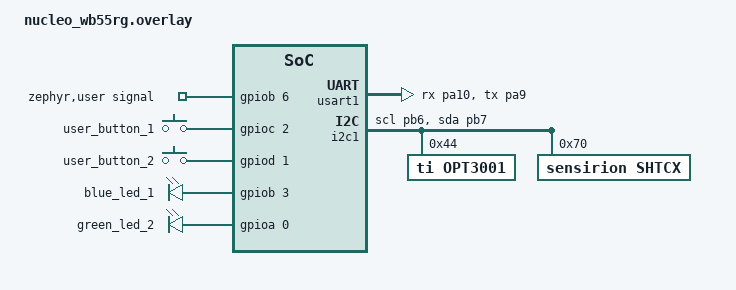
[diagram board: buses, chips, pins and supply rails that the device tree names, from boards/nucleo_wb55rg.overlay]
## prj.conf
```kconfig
#
# Copyright (c) 2023 Nordic Semiconductor ASA
#
# SPDX-License-Identifier: Apache-2.0
#
CONFIG_BT=y
CONFIG_BT_PERIPHERAL=y
CONFIG_BT_DEVICE_NAME="BTH iot alarm"
CONFIG_LOG=y

#CONFIG_BT_EXT_ADV=y
#CONFIG_BT_PER_ADV=y

#CONFIG_BT_HCI_ACL_FLOW_CONTROL=y
#CONFIG_BT_EXT_ADV=y
#^ breaks BLE w/ STM32wb55

CONFIG_SENSOR=y
CONFIG_I2C=y
CONFIG_GPIO=y
CONFIG_SENSOR_LOG_LEVEL_DBG=y

CONFIG_PM_DEVICE=y

CONFIG_STDOUT_CONSOLE=y
CONFIG_CBPRINTF_FP_SUPPORT=y
```

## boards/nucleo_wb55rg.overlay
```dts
&pinctrl {
    usart1_rx_pa10: usart1_rx_pa10 {
        pinmux = < STM32_PINMUX('A', 10, AF7) >;
    };

    usart1_tx_pa9: usart1_tx_pa9 {
        pinmux = < STM32_PINMUX('A', 9, AF7) >;
    };
};

// usart 1 on PA9 and PA10
&usart1 {
    pinctrl-0 = <&usart1_rx_pa10 &usart1_tx_pa9>;
};

// i2c1 for sht
&i2c1 {
    pinctrl-0 = <&i2c1_scl_pb6 &i2c1_sda_pb7>;
    status = "okay";
    pinctrl-names = "default";
    
	opt3001: opt3001@44 {
		compatible = "ti,opt3001";
		reg = <0x44>;
	};
    shtcx: shtcx@70 {
		compatible = "sensirion,shtcx";
		reg = <0x70>;
		chip = "shtc3";
		measure-mode = "normal";
	};
};

&gpioa {
	status = "okay";
};
&gpiob {
	status = "okay";
};
&gpioc {
	status = "okay";
};
&gpiod {
	status = "okay";
};

/ {
	zephyr,user {
		signal-gpios =  < &gpiob 6 GPIO_ACTIVE_HIGH >; // Test scl
	};

	aliases {
		led1 = &green_led_2;
	};
};

// door 
&user_button_1 {
	gpios = < &gpioc 2 GPIO_ACTIVE_HIGH >; // Door uSwitch
};

&user_button_2 {
	gpios = < &gpiod 1 GPIO_ACTIVE_HIGH >; // CTRL Btn
};

&blue_led_1 {
	gpios = < &gpiob 3 GPIO_ACTIVE_HIGH >; // User LED
};

&green_led_2 {
	gpios = < &gpioa 0 GPIO_ACTIVE_HIGH >; // Buzzer
};
// TODO add VCC ADC...
```

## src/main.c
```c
/*
 * Copyright (c) 2023 Nordic Semiconductor ASA
 *
 * SPDX-License-Identifier: Apache-2.0
 */

#include "zephyr/dt-bindings/gpio/gpio.h"
#include "zephyr/sys/time_units.h"
#include <zephyr/device.h>
#include <zephyr/devicetree.h>
#include <zephyr/drivers/gpio.h>
#include <zephyr/drivers/i2c.h>
#include <zephyr/drivers/sensor.h>
#include <zephyr/kernel.h>

#include <zephyr/bluetooth/bluetooth.h>
#include <zephyr/bluetooth/gap.h>
#include <zephyr/bluetooth/uuid.h>

/*
 ***************************************************************************
 * Device tree definitions
 */

// https://github.com/aaron-mohtar-co/Lemon-IoT-LTE-nRF9160/tree/main/Examples/i2c_sensor
// #define OPT3001_DEV DT_NODELABEL(opt3001)
#define SHTC_DEV DT_NODELABEL(shtcx)
#define DOOR DT_ALIAS(sw0)
#define CTRL DT_ALIAS(sw1)
#define LED0 DT_ALIAS(led0)
#define BUZZER DT_ALIAS(led1)

// DeviceTree devices
const struct gpio_dt_spec buzzer = GPIO_DT_SPEC_GET(BUZZER, gpios);
const struct gpio_dt_spec led = GPIO_DT_SPEC_GET(LED0, gpios);
const struct gpio_dt_spec door_sw = GPIO_DT_SPEC_GET(DOOR, gpios);
const struct gpio_dt_spec ctrl_btn = GPIO_DT_SPEC_GET(CTRL, gpios);
//const struct device *light = DEVICE_DT_GET(OPT3001_DEV);
const struct device *sht = DEVICE_DT_GET(SHTC_DEV);

static struct gpio_callback door_cb;
static struct gpio_callback ctrl_cb;

/*
 ***************************************************************************
 * Bluetooth BtHome setup.
 ****************************************************************************
 */
#define SERVICE_DATA_LEN 9
#define SERVICE_UUID 0xfcd2 /* BTHome service UUID */
#define IDX_TEMPL 4         /* Index of lo byte of temp in service data*/
#define IDX_TEMPH 5         /* Index of hi byte of temp in service data*/
#define IDX_HUMDL 7         /* Index of lo byte of humidity in service data*/
#define IDX_HUMDH 8         /* Index of hi byte of humidity in service data*/

static uint8_t service_data[SERVICE_DATA_LEN] = {
    BT_UUID_16_ENCODE(SERVICE_UUID),
    0x40,
    0x02, /* Temperature */
    0xc4, /* Low byte */
    0x00, /* High byte */
    0x03, /* Humidity */
    0xbf, /* 50.55%  low byte*/
    0x13, /* 50.55%  high byte*/
};

static const struct bt_data ad[] = {
    BT_DATA_BYTES(BT_DATA_FLAGS, BT_LE_AD_GENERAL | BT_LE_AD_NO_BREDR),
    BT_DATA(BT_DATA_NAME_COMPLETE, CONFIG_BT_DEVICE_NAME,
            sizeof(CONFIG_BT_DEVICE_NAME) - 1),
   BT_DATA(BT_DATA_SVC_DATA16,
            service_data, ARRAY_SIZE(service_data)),
};

/*
 #define ADV_PARAMS                                                             \
   BT_LE_ADV_PARAM(BT_LE_ADV_OPT_USE_NAME, BT_GAP_ADV_FAST_INT_MIN_2,          \
                    BT_GAP_ADV_FAST_INT_MAX_2, NULL)
*/

#define ADV_PARAMS BT_LE_ADV_PARAM(BT_LE_ADV_OPT_USE_IDENTITY, \
				  BT_GAP_ADV_SLOW_INT_MIN, \
				  BT_GAP_ADV_SLOW_INT_MAX, NULL)


/*
 ***************************************************************************
 * Door alarm setup.
 ****************************************************************************
 */

// TODO this code is disgusting, software debounce the buttons
// https://github.com/ubieda/zephyr_button_debouncing/tree/master
int ctrl_btn_state = 0;
int ctrl_btn_dt = 0;
// Beware this function assumes debounced button.
void ctrl_button_pressed(const struct device *dev, struct gpio_callback *cb,
                         uint32_t pins) {
  printk("Control button pressed at %" PRIu32 "\n", k_cycle_get_32());

  switch (ctrl_btn_state) {
  // Idle
  case 0:
    if (gpio_pin_get_dt(&ctrl_btn) == 1) {
      printk("Control button pressed at %" PRIu32 "\n", k_cycle_get_32());
      ctrl_btn_state = 1;
    }
    break;
  // Button released
  case 1:
    if (gpio_pin_get_dt(&ctrl_btn) == 0) {
      if (k_cyc_to_ms_ceil32(k_cycle_get_32()) - ctrl_btn_dt < 3000) {
        printk("Ctrl Btn released, going to quiet mode.\n");
        ctrl_btn_state = 2;
        // TODO Force buzzer off for 30s
      } else {
        printk("Ctrl Btn released, going to shutdown mode.\n");
        ctrl_btn_state = 3;
        // TODO force shutdown
      }
    }
    break;
  case 2:
  case 3:
    ctrl_btn_state = 0;
    break;
  }
  ctrl_btn_dt = k_cyc_to_ms_ceil32(k_cycle_get_32());
}

int door_switch_dt = 0;
void door_state_change(const struct device *dev, struct gpio_callback *cb,
                       uint32_t pins) {
  printk("Door state change at %" PRIu32 "\n", k_cycle_get_32());
  int door_state = gpio_pin_get_dt(&door_sw);
  if (door_state == 0) {
    door_switch_dt = k_cyc_to_ms_ceil32(k_cycle_get_32());
    gpio_pin_set_dt(&buzzer, 0);
  } else {
    int dt = k_cyc_to_ms_ceil32(k_cycle_get_32()) - door_switch_dt;
    if (dt > 1000) {
      gpio_pin_set_dt(&buzzer, 1);
    }
  }
}


/*
 ***************************************************************************
 * Bluetooth functions.
 ****************************************************************************
 */
static int bt_ready() {

  printk("Bluetooth initialized\n");

  /* Start advertising */
  int err = bt_le_adv_start(ADV_PARAMS, ad, ARRAY_SIZE(ad), NULL, 0);
  if (err) {
    printk("Advertising failed to start (err %d)\n", err);
  }

  printk("Advertising started.\n");
  return err;
}

/*
 ***************************************************************************
 * Main
 ****************************************************************************
 */
int main(void) {
  int err;

  printk("Hello !\n");

  // // ----- Init Door Switch + IRQ -----
  // err = gpio_pin_configure_dt(&door_sw, GPIO_INPUT);
  // err = gpio_pin_interrupt_configure_dt(&door_sw, GPIO_INT_EDGE_BOTH);
  // if (err != 0) {
  //   printk("Error %d: failed to configure interrupt on %s pin %d\n", err,
  //          door_sw.port->name, door_sw.pin);
  //   return err;
  // }
  // gpio_init_callback(&door_cb, door_state_change, BIT(door_sw.pin));
  // gpio_add_callback(door_sw.port, &door_cb);

  // ----- Init CTRL Button + IRQ -----
  err = gpio_pin_configure_dt(&ctrl_btn, GPIO_INPUT | GPIO_PULL_DOWN);
  err = gpio_pin_interrupt_configure_dt(&ctrl_btn, GPIO_INT_EDGE_BOTH);
  if (err != 0) {
    printk("Error %d: failed to configure interrupt on %s pin %d\n", err,
           ctrl_btn.port->name, ctrl_btn.pin);
    return err;
  }
  gpio_init_callback(&ctrl_cb, ctrl_button_pressed, BIT(ctrl_btn.pin));
  gpio_add_callback(ctrl_btn.port, &ctrl_cb);
 
  // ----- Init Buzzer -----
  gpio_pin_configure_dt(&buzzer, GPIO_OUTPUT);
  gpio_pin_set_dt(&buzzer, 1);
  k_msleep(100);
  gpio_pin_set_dt(&buzzer, 0);
  k_msleep(100);

  // ----- Init LED -----
  gpio_pin_configure_dt(&led, GPIO_OUTPUT);

  // ----- SHT init -----
  if (!device_is_ready(sht)) {
   printk("Device %s is not ready\n", sht->name);

  } else {
   printk("Found device %s. Reading sensor data\n", sht->name);
  }
 
  printk("CONFIG_BT_DEVICE_NAME: %s\n", CONFIG_BT_DEVICE_NAME);
  err = bt_enable(NULL);
  if (err) {
    printk("Bluetooth init failed (err %d)\n", err);

    for (int i=0; i<5; ++i){
      gpio_pin_set_dt(&buzzer, 1);
      k_msleep(100);
      gpio_pin_set_dt(&buzzer, 0);
      k_msleep(1000);
    }

    return 0;
  }

  printk("Bluetooth init done.\n");

  err = bt_ready();
  if (err) {
    printk("Bluetooth ready failed (err %d)\n", err);

    for (int i=0; i<10; ++i){
      gpio_pin_set_dt(&buzzer, 1);
      k_msleep(100);
      gpio_pin_set_dt(&buzzer, 0);
      k_msleep(1000);
    } 
    return 0;
  }

  printk("Bluetooth ready.\n");
  

  // ----- Main loop -----
  for (;;) {

    /* Get temp & humidity */
		struct sensor_value temp, hum;

		int err = sensor_sample_fetch(sht);
		if (err == 0) {
			err = sensor_channel_get(sht, SENSOR_CHAN_AMBIENT_TEMP,
						&temp);
		}
		if (err == 0) {
			err = sensor_channel_get(sht, SENSOR_CHAN_HUMIDITY,
						&hum);
		}
		if (err != 0) {
		  printf("SHT: failed: %d\n", err);
		}
    else {
      double ftemp = sensor_value_to_double(&temp);
      double fhumd = sensor_value_to_double(&hum);
      printf("SHT: %.2f Cel ; %0.2f %%RH\n", ftemp, fhumd);

      service_data[IDX_TEMPH] = (int)(ftemp * 100) >> 8;
      service_data[IDX_TEMPL] = (int)(ftemp * 100) & 0xff;

      service_data[IDX_HUMDH] = (int)(fhumd * 100) >> 8;
      service_data[IDX_HUMDL] = (int)(fhumd * 100) & 0xff;
    }

    err = bt_le_adv_update_data(ad, ARRAY_SIZE(ad), NULL, 0);
    if (err) {
      printk("Failed to update advertising data (err %d)\n", err);
      for (int i=0; i<20; ++i){
        gpio_pin_set_dt(&buzzer, 1);
        k_msleep(100);
        gpio_pin_set_dt(&buzzer, 0);
        k_msleep(1000);
      }
    }
    k_sleep(K_MSEC(BT_GAP_ADV_SLOW_INT_MIN));
  }
  return 0;
}
```

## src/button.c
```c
// #include <zephyr.h>
// #include <device.h>
// #include <drivers/gpio.h>
// #include <sys/printk.h>

#include "zephyr/dt-bindings/gpio/gpio.h"
#include "zephyr/sys/time_units.h"
#include <zephyr/device.h>
#include <zephyr/devicetree.h>
#include <zephyr/drivers/gpio.h>
#include <zephyr/drivers/i2c.h>
#include <zephyr/drivers/sensor.h>
#include <zephyr/kernel.h>


#include "button.h"

#define DEBOUNCE_DELAY K_MSEC(50)  // or 15 ?

// GPIO callback function with user data
static void button_isr_callback(const struct device *dev,
								struct gpio_callback *cb,
								gpio_port_pins_t pins)
{
    struct button_context *btn = CONTAINER_OF(cb, struct button_context, gpio_cb);

    // Start or restart the debounce timer associated with the button
    k_timer_start(&btn->debounce_timer, DEBOUNCE_DELAY, K_NO_WAIT);
}

// Timer handler function for debouncing
static void button_handler(struct k_timer *timer_id)
{
    struct button_context *btn = CONTAINER_OF(timer_id, struct button_context, debounce_timer);

    // Read the button state to confirm if it's still pressed/released
    int state = gpio_pin_get(btn->dev, btn->pin);

    // Check if the state has changed since the last interrupt
    if (state != btn->pressed) {
        btn->pressed = state; // Update the state

        // Perform your button action here
        printk("Button on pin %d is now %s\n", btn->pin, state ? "pressed" : "released");
    }
}

int button_init(struct button_context * button_config, 
				const struct gpio_dt_spec * device,
				button_event_handler_t handler)
{
	button_config->pin = device->pin;
	button_config->flags = device->dt_flags;
    button_config->dev = device->port;
	// if (!button_config->dev) {
	// 	printk("Error: Button device %s not found.\n", device);
	// 	return -1;
	// }

	// Initialize the debounce timer for the button
	k_timer_init(&button_config->debounce_timer, button_handler, NULL);

	// Configure button pin with interrupts
	gpio_pin_configure(button_config->dev, button_config->pin, button_config->flags | GPIO_INPUT | GPIO_INT_EDGE_BOTH);

	// Initialize and add the GPIO callback
	gpio_init_callback(&button_config->gpio_cb, button_isr_callback, BIT(button_config->pin));
	gpio_add_callback(button_config->dev, &button_config->gpio_cb);

	// Enable interrupts for the button pin
	gpio_pin_interrupt_configure(button_config->dev, button_config->pin, GPIO_INT_EDGE_BOTH);

	return 0;
}

/*********************************************/
// Example:
// #include <zephyr/kernel.h>
// #include "button.h"
//
// #define SW0_NODE	DT_ALIAS(sw0)
// static const struct gpio_dt_spec button0 = GPIO_DT_SPEC_GET(SW0_NODE, gpios); 
//
// static void button_event_handler(enum button_evt evt, int)
// {
// 	printk("Button event: %d\n", (int)evt);
// }
//
// int main(void)
// {
// 	int err = -1;
//
// 	printk("Button Debouncing Sample!\n");
//
// 	struct button_context sw0_context;	// keep it alive !
// 	err = button_init(
// 		&sw0_context,
// 		&button0,
// 		button_event_handler);
//
// 	if (err) {
// 		printk("Button Init failed: %d\n", err);
// 		return -1;
// 	}
//
// 	printk("Init succeeded. Waiting for event...\n");
// 	return 0;
// }
//
/*********************************************/
```

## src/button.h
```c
/* adapted from https://github.com/ubieda/zephyr_button_debouncing */

#ifndef _BUTTON_H_
#define _BUTTON_H_

enum button_evt {
    BUTTON_EVT_PRESSED,
    BUTTON_EVT_RELEASED
};

// Context definition for the button. Must not be deleted.
struct button_context {
    const struct device *dev;
    gpio_pin_t pin;
    gpio_flags_t flags;
    struct k_timer debounce_timer;
    struct gpio_callback gpio_cb;
    bool pressed;
};

typedef void (*button_event_handler_t)(enum button_evt evt, int device_alias);

int button_init(struct button_context * button_config, 
				const struct gpio_dt_spec * device,
				button_event_handler_t handler);

#endif /* _BUTTON_H_ */
```
